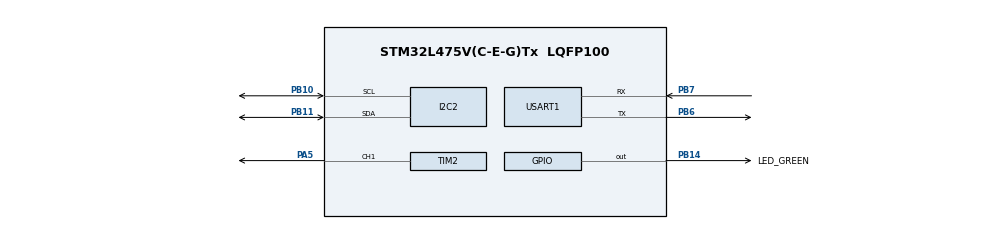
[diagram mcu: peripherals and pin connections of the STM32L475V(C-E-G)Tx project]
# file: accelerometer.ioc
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Mcu.Family=STM32L4
Mcu.Name=STM32L475V(C-E-G)Tx
Mcu.Package=LQFP100
NVIC.PriorityGroup=NVIC_PRIORITYGROUP_4
PA13\ (JTMS-SWDIO).Mode=Serial_Wire
PA13\ (JTMS-SWDIO).Signal=SYS_JTMS-SWDIO
PA14\ (JTCK-SWCLK).Mode=Serial_Wire
PA14\ (JTCK-SWCLK).Signal=SYS_JTCK-SWCLK
PA5.Signal=S_TIM2_CH1
PB10.Mode=I2C
PB10.Signal=I2C2_SCL
PB11.Mode=I2C
PB11.Signal=I2C2_SDA
PB14.GPIO_Label=LED_GREEN
PB14.Signal=GPIO_Output
PB6.Mode=Asynchronous
PB6.Signal=USART1_TX
PB7.Mode=Asynchronous
PB7.Signal=USART1_RX
ProjectManager.HeapSize=0x200
ProjectManager.StackSize=0x400
ProjectManager.TargetToolchain=STM32CubeIDE
RCC.HSE_VALUE=8000000
RCC.HSI_VALUE=16000000
RCC.LSE_VALUE=32768
RCC.MSI_VALUE=4000000
RCC.VCOOutputFreq_Value=32000000
SH.S_TIM2_CH1.0=TIM2_CH1,PWM Generation1 CH1
TIM2.Channel-PWM\ Generation1\ CH1=TIM_CHANNEL_1
TIM2.Period=625
TIM2.Prescaler=127
USART1.VirtualMode-Asynchronous=VM_ASYNC
VP_TIM2_VS_ClockSourceINT.Mode=Internal
board=custom

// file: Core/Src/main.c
/* USER CODE BEGIN Header */
/**
  ******************************************************************************
  * @file           : main.c
  * @brief          : Main program body
  ******************************************************************************
  * @attention
  *
  * Copyright (c) 2022 STMicroelectronics.
  * All rights reserved.
  *
  * This software is licensed under terms that can be found in the LICENSE file
  * in the root directory of this software component.
  * If no LICENSE file comes with this software, it is provided AS-IS.
  *
  ******************************************************************************
  */
/* USER CODE END Header */
#include "main.h"
#include "stdio.h"

/* USER CODE BEGIN PTD */

typedef enum {
  	LSM6DSL_IF_INC_DISABLED =	0x00,
  	LSM6DSL_IF_INC_ENABLED 	=	0x04,
} LSM6DSL_IF_INC_t;

typedef enum {
  	LSM6DSL_BDU_DISABLED 	=	0x00,
  	LSM6DSL_BDU_ENABLED 	=	0x40,
} LSM6DSL_BDU_t;

typedef enum {
  	LSM6DSL_FIFO_MODE_BYPASS 		 	=	0x00,
  	LSM6DSL_FIFO_MODE_FIFO 		 		=	0x01,
  	LSM6DSL_FIFO_MODE_STREAM 		 	=	0x02,
  	LSM6DSL_FIFO_MODE_STF 			 	=	0x03,
  	LSM6DSL_FIFO_MODE_BTS			 	=	0x04,
  	LSM6DSL_FIFO_MODE_DYN_STREAM    	=	0x05,
  	LSM6DSL_FIFO_MODE_DYN_STREAM_2 		=	0x06,
  	LSM6DSL_FIFO_MODE_BTF 		 		=	0x07,
} LSM6DSL_FIFO_MODE_t;

typedef enum {
  	LSM6DSL_ODR_XL_POWER_DOWN 	=0x00,
  	LSM6DSL_ODR_XL_13Hz 		=0x10,
  	LSM6DSL_ODR_XL_26Hz 		=0x20,
  	LSM6DSL_ODR_XL_52Hz 		=0x30,
  	LSM6DSL_ODR_XL_104Hz 		=0x40,
  	LSM6DSL_ODR_XL_208Hz 		=0x50,
  	LSM6DSL_ODR_XL_416Hz 		=0x60,
  	LSM6DSL_ODR_XL_833Hz 		=0x70,
  	LSM6DSL_ODR_XL_1660Hz 		=0x80,
  	LSM6DSL_ODR_XL_3330Hz 		=0x90,
  	LSM6DSL_ODR_XL_6660Hz 		=0xA0,
} LSM6DSL_ODR_XL_t;

typedef enum {
  	LSM6DSL_FS_XL_2g 		 	=0x00,
  	LSM6DSL_FS_XL_16g 		 	=0x04,
  	LSM6DSL_FS_XL_4g 		 	=0x08,
  	LSM6DSL_FS_XL_8g 		 	=0x0C,
} LSM6DSL_FS_XL_t;

typedef enum {
  	LSM6DSL_ODR_G_POWER_DOWN 	=0x00,
  	LSM6DSL_ODR_G_13Hz 		 	=0x10,
  	LSM6DSL_ODR_G_26Hz 		 	=0x20,
  	LSM6DSL_ODR_G_52Hz 		 	=0x30,
  	LSM6DSL_ODR_G_104Hz 		=0x40,
  	LSM6DSL_ODR_G_208Hz 		=0x50,
  	LSM6DSL_ODR_G_416Hz 		=0x60,
  	LSM6DSL_ODR_G_833Hz 		=0x70,
  	LSM6DSL_ODR_G_1660Hz 		=0x80,
  	LSM6DSL_ODR_G_3330Hz 		=0x90,
  	LSM6DSL_ODR_G_6660Hz 		=0xA0,
} LSM6DSL_ODR_G_t;

typedef enum {
  	LSM6DSL_FS_125_DISABLED 	=0x00,
  	LSM6DSL_FS_125_ENABLED 		=0x02,
} LSM6DSL_FS_125_t;

typedef enum {
  	LSM6DSL_FS_G_245dps 		=0x00,
  	LSM6DSL_FS_G_500dps 		=0x04,
  	LSM6DSL_FS_G_1000dps 		=0x08,
  	LSM6DSL_FS_G_2000dps 		=0x0C,
} LSM6DSL_FS_G_t;

/* USER CODE END PTD */

/* USER CODE BEGIN PD */

#define LSM6DSL_ADDRESS 		0xD4
#define LSM6DSL_ADDRESS_WRITE 	0xD4
#define LSM6DSL_ADDRESS_READ 	(0xD4 | 0x01)

#define LSM6DSL_CTRL3_C 		0x12
#define LSM6DSL_FIFO_CTRL5  	0X0A
#define LSM6DSL_CTRL1_XL		0x10
#define LSM6DSL_CTRL2_G			0x11
#define LSM6DSL_OUTX_L_XL  		0X28

#define LSM6DSL_IF_INC_MASK 	0x04
#define LSM6DSL_BDU_MASK		0x40
#define LSM6DSL_FIFO_MODE_MASK  0x07
#define LSM6DSL_ODR_XL_MASK  	0xF0
#define LSM6DSL_FS_XL_MASK		0x0C
#define LSM6DSL_ODR_G_MASK		0xF0
#define LSM6DSL_FS_125_MASK  	0x02
#define LSM6DSL_FS_G_MASK  		0x0C

#define LSM6DSL_ACC_SENSITIVITY_FOR_FS_2G   0.061

#define X_ODR 104.0f

/* USER CODE END PD */

I2C_HandleTypeDef hi2c2;

TIM_HandleTypeDef htim2;

UART_HandleTypeDef huart1;

void SystemClock_Config(void);
static void MX_GPIO_Init(void);
static void MX_TIM2_Init(void);
static void MX_I2C2_Init(void);
static void MX_USART1_UART_Init(void);

/* USER CODE BEGIN 0 */

/* CONFIGURE SENSOR */
HAL_StatusTypeDef LSM6DSL_SET_IF_INC(LSM6DSL_IF_INC_t new_value)
{
	uint8_t value;

	if ( HAL_I2C_Mem_Read(&hi2c2, LSM6DSL_ADDRESS_READ, LSM6DSL_CTRL3_C, 1, &value, 1, 20) == HAL_ERROR )
	{
		return HAL_ERROR;
	}

	value &= ~LSM6DSL_IF_INC_MASK;
	value |= new_value;

	if ( HAL_I2C_Mem_Write(&hi2c2, LSM6DSL_ADDRESS_WRITE, LSM6DSL_CTRL3_C, 1, &value, 1, 20) == HAL_ERROR )
	{
		return HAL_ERROR;
	}

	return HAL_OK;
}

HAL_StatusTypeDef LSM6DSL_SET_BDU(LSM6DSL_BDU_t new_value)
{
	uint8_t value;

	if ( HAL_I2C_Mem_Read(&hi2c2, LSM6DSL_ADDRESS_READ, LSM6DSL_CTRL3_C, 1, &value, 1, 20) == HAL_ERROR )
	{
		return HAL_ERROR;
	}

	value &= ~LSM6DSL_BDU_MASK;
	value |= new_value;

	if ( HAL_I2C_Mem_Write(&hi2c2, LSM6DSL_ADDRESS_WRITE, LSM6DSL_CTRL3_C, 1, &value, 1, 20) == HAL_ERROR )
	{
		return HAL_ERROR;
	}

	return HAL_OK;
}

HAL_StatusTypeDef LSM6DSL_SET_FIFO_MODE(LSM6DSL_FIFO_MODE_t new_value)
{
	uint8_t value;

	if ( HAL_I2C_Mem_Read(&hi2c2, LSM6DSL_ADDRESS_READ, LSM6DSL_FIFO_CTRL5, 1, &value, 1, 20) == HAL_ERROR )
	{
		return HAL_ERROR;
	}

	value &= ~LSM6DSL_FIFO_MODE_MASK;
	value |= new_value;

	if ( HAL_I2C_Mem_Write(&hi2c2, LSM6DSL_ADDRESS_WRITE, LSM6DSL_FIFO_CTRL5, 1, &value, 1, 20) == HAL_ERROR )
	{
		return HAL_ERROR;
	}

	return HAL_OK;
}

HAL_StatusTypeDef LSM6DSL_SET_ODR_XL(LSM6DSL_ODR_XL_t new_value)
{
	uint8_t value;

	if ( HAL_I2C_Mem_Read(&hi2c2, LSM6DSL_ADDRESS_READ, LSM6DSL_CTRL1_XL, 1, &value, 1, 20) == HAL_ERROR )
	{
		return HAL_ERROR;
	}

	value &= ~LSM6DSL_ODR_XL_MASK;
	value |= new_value;

	if ( HAL_I2C_Mem_Write(&hi2c2, LSM6DSL_ADDRESS_WRITE, LSM6DSL_CTRL1_XL, 1, &value, 1, 20) == HAL_ERROR )
	{
		return HAL_ERROR;
	}

	return HAL_OK;
}

HAL_StatusTypeDef LSM6DSL_SET_FS_XL(LSM6DSL_FS_XL_t new_value)
{
	uint8_t value;

	if ( HAL_I2C_Mem_Read(&hi2c2, LSM6DSL_ADDRESS_READ, LSM6DSL_CTRL1_XL, 1, &value, 1, 20) == HAL_ERROR )
	{
		return HAL_ERROR;
	}

	value &= ~LSM6DSL_FS_XL_MASK;
	value |= new_value;

	if ( HAL_I2C_Mem_Write(&hi2c2, LSM6DSL_ADDRESS_WRITE, LSM6DSL_CTRL1_XL, 1, &value, 1, 20) == HAL_ERROR )
	{
		return HAL_ERROR;
	}

	return HAL_OK;
}

HAL_StatusTypeDef LSM6DSL_SET_ODR_G(LSM6DSL_ODR_G_t new_value)
{
	uint8_t value;

	if ( HAL_I2C_Mem_Read(&hi2c2, LSM6DSL_ADDRESS_READ, LSM6DSL_CTRL2_G, 1, &value, 1, 20) == HAL_ERROR )
	{
		return HAL_ERROR;
	}

	value &= ~LSM6DSL_ODR_G_MASK;
	value |= new_value;

	if ( HAL_I2C_Mem_Write(&hi2c2, LSM6DSL_ADDRESS_WRITE, LSM6DSL_CTRL2_G, 1, &value, 1, 20) == HAL_ERROR )
	{
		return HAL_ERROR;
	}

	return HAL_OK;
}

HAL_StatusTypeDef LSM6DSL_SET_FS_125(LSM6DSL_FS_125_t new_value)
{
	uint8_t value;

	if ( HAL_I2C_Mem_Read(&hi2c2, LSM6DSL_ADDRESS_READ, LSM6DSL_CTRL2_G, 1, &value, 1, 20) == HAL_ERROR )
	{
		return HAL_ERROR;
	}

	value &= ~LSM6DSL_FS_125_MASK;
	value |= new_value;

	if ( HAL_I2C_Mem_Write(&hi2c2, LSM6DSL_ADDRESS_WRITE, LSM6DSL_CTRL2_G, 1, &value, 1, 20) == HAL_ERROR )
	{
		return HAL_ERROR;
	}

	return HAL_OK;
}

HAL_StatusTypeDef LSM6DSL_SET_FS_G(LSM6DSL_FS_G_t new_value)
{
	uint8_t value;

	if ( HAL_I2C_Mem_Read(&hi2c2, LSM6DSL_ADDRESS_READ, LSM6DSL_CTRL2_G, 1, &value, 1, 20) == HAL_ERROR )
	{
		return HAL_ERROR;
	}

	value &= ~LSM6DSL_FS_G_MASK;
	value |= new_value;

	if ( HAL_I2C_Mem_Write(&hi2c2, LSM6DSL_ADDRESS_WRITE, LSM6DSL_CTRL2_G, 1, &value, 1, 20) == HAL_ERROR )
	{
		return HAL_ERROR;
	}

	return HAL_OK;
}

HAL_StatusTypeDef LSM6DSL_GET_RAW_ACCELEROMETER(uint8_t *buff)
{
	int offset = 0;

	for (int i = 0; i < 3; i++) {
		for (int j = 0; j < 2; j++) {
			if ( HAL_I2C_Mem_Read(&hi2c2, LSM6DSL_ADDRESS_READ, LSM6DSL_OUTX_L_XL + offset, 1, &buff[offset], 1, 20) == HAL_ERROR)
			{
				return HAL_ERROR;
			}
			offset++;
		}
	}

	return HAL_OK;
}

HAL_StatusTypeDef CONFIGURE_I2C_SENSOR()
{
	/* Enable register address automatically increasing */
	if ( LSM6DSL_SET_IF_INC(LSM6DSL_IF_INC_ENABLED) == HAL_ERROR)
	{
		return HAL_ERROR;
	}

	/* Enable BDU */
	if ( LSM6DSL_SET_BDU(LSM6DSL_BDU_ENABLED) == HAL_ERROR )
	{
		return HAL_ERROR;
	}

	/* SET FIFO MODE to BYPASS */
	if ( LSM6DSL_SET_FIFO_MODE(LSM6DSL_FIFO_MODE_BYPASS) == HAL_ERROR )
	{
		return HAL_ERROR;
	}

	if ( LSM6DSL_SET_FS_XL(LSM6DSL_FS_XL_2g) == HAL_ERROR )
	{
		return HAL_ERROR;
	}

	if ( LSM6DSL_SET_ODR_G(LSM6DSL_ODR_G_POWER_DOWN) == HAL_ERROR )
	{
		return HAL_ERROR;
	}

	if ( LSM6DSL_SET_FS_125(LSM6DSL_FS_125_DISABLED) == HAL_ERROR )
	{
		return HAL_ERROR;
	}

	if ( LSM6DSL_SET_FS_G(LSM6DSL_FS_G_2000dps) == HAL_ERROR )
	{
		return HAL_ERROR;
	}

	if ( LSM6DSL_SET_ODR_XL(LSM6DSL_ODR_XL_104Hz) == HAL_ERROR )
	{
		return HAL_ERROR;
	}

	return HAL_OK;
}

HAL_StatusTypeDef READ_ACCELEROMETER(int32_t *pData)
{
	 uint8_t dataRaw[6];

	 if ( LSM6DSL_GET_RAW_ACCELEROMETER(dataRaw) == HAL_ERROR )
	 {
		 return HAL_ERROR;
	 }

	 float sensitivity = LSM6DSL_ACC_SENSITIVITY_FOR_FS_2G;

	 pData[0] = (int32_t)( ( (( (int16_t)dataRaw[1] ) << 8) | (int16_t)dataRaw[0] ) * sensitivity);
	 pData[1] = (int32_t)(( ( ((int16_t)dataRaw[3] ) << 8) | (int16_t)dataRaw[2] ) * sensitivity);
	 pData[2] = (int32_t)(( (((int16_t)dataRaw[5] ) << 8) | (int16_t)dataRaw[4] ) * sensitivity);

	 return HAL_OK;
}

int _write(int fd, char* ptr, int len) {
    HAL_UART_Transmit(&huart1, (uint8_t *) ptr, len, HAL_MAX_DELAY);
    return len;
}

/* USER CODE END 0 */

int main(void)
{

  /* MCU Configuration--------------------------------------------------------*/

  /* Reset of all peripherals, Initializes the Flash interface and the Systick. */
  HAL_Init();

  /* USER CODE BEGIN Init */
	 uint8_t slave_array[256];
	 memset(slave_array, 0, 265);
	 uint8_t regValue[6] = {0, 0, 0, 0, 0, 0};
	 int32_t data[3];

  /* USER CODE END Init */

  /* Configure the system clock */
  SystemClock_Config();

  /* Initialize all configured peripherals */
  MX_GPIO_Init();
  MX_TIM2_Init();
  MX_I2C2_Init();
  MX_USART1_UART_Init();
  /* USER CODE BEGIN 2 */
  HAL_TIM_PWM_Start(&htim2, TIM_CHANNEL_1);

  for (int i = 0; i < 255; i++) {
	  slave_array[i] = HAL_I2C_IsDeviceReady(&hi2c2, i<<1, 1, 10) == HAL_OK;
  }

  if (HAL_I2C_IsDeviceReady(&hi2c2, LSM6DSL_ADDRESS, 1, 10) == HAL_OK) {
	 HAL_GPIO_TogglePin(LED_GREEN_GPIO_Port, LED_GREEN_Pin);
  }
  CONFIGURE_I2C_SENSOR();

  /* USER CODE END 2 */

  /* Infinite loop */
  /* USER CODE BEGIN WHILE */

  while (1)
  {
	 READ_ACCELEROMETER(data);
	 printf("%ld\r\n", data[0]);

	  __HAL_TIM_SET_COMPARE(&htim2, TIM_CHANNEL_1, data[0] / 10);

    /* USER CODE END WHILE */

  }
}

void SystemClock_Config(void)
{
  RCC_OscInitTypeDef RCC_OscInitStruct = {0};
  RCC_ClkInitTypeDef RCC_ClkInitStruct = {0};

  /** Configure the main internal regulator output voltage
  */
  if (HAL_PWREx_ControlVoltageScaling(PWR_REGULATOR_VOLTAGE_SCALE1) != HAL_OK)
  {
    Error_Handler();
  }
  /** Initializes the RCC Oscillators according to the specified parameters
  * in the RCC_OscInitTypeDef structure.
  */
  RCC_OscInitStruct.OscillatorType = RCC_OSCILLATORTYPE_MSI;
  RCC_OscInitStruct.MSIState = RCC_MSI_ON;
  RCC_OscInitStruct.MSICalibrationValue = 0;
  RCC_OscInitStruct.MSIClockRange = RCC_MSIRANGE_6;
  RCC_OscInitStruct.PLL.PLLState = RCC_PLL_NONE;
  if (HAL_RCC_OscConfig(&RCC_OscInitStruct) != HAL_OK)
  {
    Error_Handler();
  }
  /** Initializes the CPU, AHB and APB buses clocks
  */
  RCC_ClkInitStruct.ClockType = RCC_CLOCKTYPE_HCLK|RCC_CLOCKTYPE_SYSCLK
                              |RCC_CLOCKTYPE_PCLK1|RCC_CLOCKTYPE_PCLK2;
  RCC_ClkInitStruct.SYSCLKSource = RCC_SYSCLKSOURCE_MSI;
  RCC_ClkInitStruct.AHBCLKDivider = RCC_SYSCLK_DIV1;
  RCC_ClkInitStruct.APB1CLKDivider = RCC_HCLK_DIV1;
  RCC_ClkInitStruct.APB2CLKDivider = RCC_HCLK_DIV1;

  if (HAL_RCC_ClockConfig(&RCC_ClkInitStruct, FLASH_LATENCY_0) != HAL_OK)
  {
    Error_Handler();
  }
}

static void MX_I2C2_Init(void)
{

  hi2c2.Instance = I2C2;
  hi2c2.Init.Timing = 0x00000E14;
  hi2c2.Init.OwnAddress1 = 0;
  hi2c2.Init.AddressingMode = I2C_ADDRESSINGMODE_7BIT;
  hi2c2.Init.DualAddressMode = I2C_DUALADDRESS_DISABLE;
  hi2c2.Init.OwnAddress2 = 0;
  hi2c2.Init.OwnAddress2Masks = I2C_OA2_NOMASK;
  hi2c2.Init.GeneralCallMode = I2C_GENERALCALL_DISABLE;
  hi2c2.Init.NoStretchMode = I2C_NOSTRETCH_DISABLE;
  if (HAL_I2C_Init(&hi2c2) != HAL_OK)
  {
    Error_Handler();
  }
  /** Configure Analogue filter
  */
  if (HAL_I2CEx_ConfigAnalogFilter(&hi2c2, I2C_ANALOGFILTER_ENABLE) != HAL_OK)
  {
    Error_Handler();
  }
  /** Configure Digital filter
  */
  if (HAL_I2CEx_ConfigDigitalFilter(&hi2c2, 0) != HAL_OK)
  {
    Error_Handler();
  }

}

static void MX_TIM2_Init(void)
{

  TIM_ClockConfigTypeDef sClockSourceConfig = {0};
  TIM_MasterConfigTypeDef sMasterConfig = {0};
  TIM_OC_InitTypeDef sConfigOC = {0};

  htim2.Instance = TIM2;
  htim2.Init.Prescaler = 127;
  htim2.Init.CounterMode = TIM_COUNTERMODE_UP;
  htim2.Init.Period = 625;
  htim2.Init.ClockDivision = TIM_CLOCKDIVISION_DIV1;
  htim2.Init.AutoReloadPreload = TIM_AUTORELOAD_PRELOAD_DISABLE;
  if (HAL_TIM_Base_Init(&htim2) != HAL_OK)
  {
    Error_Handler();
  }
  sClockSourceConfig.ClockSource = TIM_CLOCKSOURCE_INTERNAL;
  if (HAL_TIM_ConfigClockSource(&htim2, &sClockSourceConfig) != HAL_OK)
  {
    Error_Handler();
  }
  if (HAL_TIM_PWM_Init(&htim2) != HAL_OK)
  {
    Error_Handler();
  }
  sMasterConfig.MasterOutputTrigger = TIM_TRGO_RESET;
  sMasterConfig.MasterSlaveMode = TIM_MASTERSLAVEMODE_DISABLE;
  if (HAL_TIMEx_MasterConfigSynchronization(&htim2, &sMasterConfig) != HAL_OK)
  {
    Error_Handler();
  }
  sConfigOC.OCMode = TIM_OCMODE_PWM1;
  sConfigOC.Pulse = 0;
  sConfigOC.OCPolarity = TIM_OCPOLARITY_HIGH;
  sConfigOC.OCFastMode = TIM_OCFAST_DISABLE;
  if (HAL_TIM_PWM_ConfigChannel(&htim2, &sConfigOC, TIM_CHANNEL_1) != HAL_OK)
  {
    Error_Handler();
  }
  HAL_TIM_MspPostInit(&htim2);

}

static void MX_USART1_UART_Init(void)
{

  huart1.Instance = USART1;
  huart1.Init.BaudRate = 115200;
  huart1.Init.WordLength = UART_WORDLENGTH_8B;
  huart1.Init.StopBits = UART_STOPBITS_1;
  huart1.Init.Parity = UART_PARITY_NONE;
  huart1.Init.Mode = UART_MODE_TX_RX;
  huart1.Init.HwFlowCtl = UART_HWCONTROL_NONE;
  huart1.Init.OverSampling = UART_OVERSAMPLING_16;
  huart1.Init.OneBitSampling = UART_ONE_BIT_SAMPLE_DISABLE;
  huart1.AdvancedInit.AdvFeatureInit = UART_ADVFEATURE_NO_INIT;
  if (HAL_UART_Init(&huart1) != HAL_OK)
  {
    Error_Handler();
  }

}

static void MX_GPIO_Init(void)
{
  GPIO_InitTypeDef GPIO_InitStruct = {0};

  /* GPIO Ports Clock Enable */
  __HAL_RCC_GPIOA_CLK_ENABLE();
  __HAL_RCC_GPIOB_CLK_ENABLE();

  /*Configure GPIO pin Output Level */
  HAL_GPIO_WritePin(LED_GREEN_GPIO_Port, LED_GREEN_Pin, GPIO_PIN_RESET);

  /*Configure GPIO pin : LED_GREEN_Pin */
  GPIO_InitStruct.Pin = LED_GREEN_Pin;
  GPIO_InitStruct.Mode = GPIO_MODE_OUTPUT_PP;
  GPIO_InitStruct.Pull = GPIO_NOPULL;
  GPIO_InitStruct.Speed = GPIO_SPEED_FREQ_LOW;
  HAL_GPIO_Init(LED_GREEN_GPIO_Port, &GPIO_InitStruct);

}

void Error_Handler(void)
{
  __disable_irq();
  while (1)
  {
  }
}
